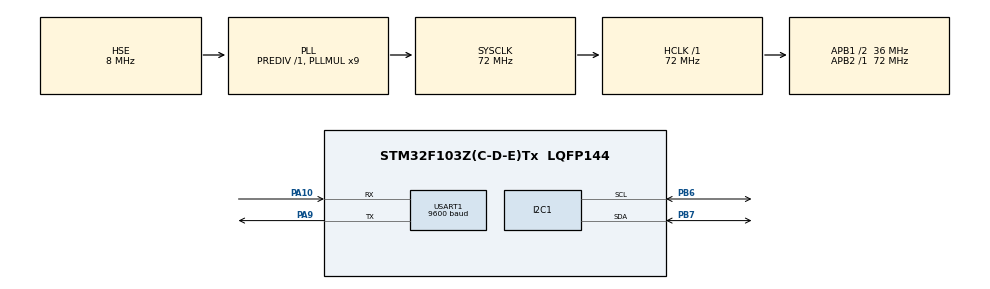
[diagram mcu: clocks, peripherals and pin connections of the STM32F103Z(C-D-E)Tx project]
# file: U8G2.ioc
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Dma.I2C1_TX.0.Direction=DMA_MEMORY_TO_PERIPH
Dma.I2C1_TX.0.Instance=DMA1_Channel6
Dma.I2C1_TX.0.MemDataAlignment=DMA_MDATAALIGN_BYTE
Dma.I2C1_TX.0.MemInc=DMA_MINC_ENABLE
Dma.I2C1_TX.0.Mode=DMA_NORMAL
Dma.I2C1_TX.0.PeriphDataAlignment=DMA_PDATAALIGN_BYTE
Dma.I2C1_TX.0.PeriphInc=DMA_PINC_DISABLE
Dma.I2C1_TX.0.Priority=DMA_PRIORITY_LOW
Dma.Request0=I2C1_TX
I2C1.I2C_Mode=I2C_Fast
Mcu.Family=STM32F1
Mcu.Name=STM32F103Z(C-D-E)Tx
Mcu.Package=LQFP144
NVIC.DMA1_Channel6_IRQn=true\:0\:0\:false\:false\:true\:false\:true\:true
NVIC.I2C1_ER_IRQn=true\:0\:0\:false\:false\:true\:true\:true\:true
NVIC.I2C1_EV_IRQn=true\:0\:0\:false\:false\:true\:true\:true\:true
NVIC.PriorityGroup=NVIC_PRIORITYGROUP_4
OSC_IN.Mode=HSE-External-Oscillator
OSC_IN.Signal=RCC_OSC_IN
OSC_OUT.Mode=HSE-External-Oscillator
OSC_OUT.Signal=RCC_OSC_OUT
PA10.Mode=Asynchronous
PA10.Signal=USART1_RX
PA13.Mode=Serial_Wire
PA13.Signal=SYS_JTMS-SWDIO
PA14.Mode=Serial_Wire
PA14.Signal=SYS_JTCK-SWCLK
PA9.Mode=Asynchronous
PA9.Signal=USART1_TX
PB6.Mode=I2C
PB6.Signal=I2C1_SCL
PB7.Mode=I2C
PB7.Signal=I2C1_SDA
ProjectManager.HeapSize=0x200
ProjectManager.StackSize=0x400
ProjectManager.TargetToolchain=MDK-ARM V5.32
RCC.AHBFreq_Value=72000000
RCC.APB1CLKDivider=RCC_HCLK_DIV2
RCC.APB1Freq_Value=36000000
RCC.APB1TimFreq_Value=72000000
RCC.APB2Freq_Value=72000000
RCC.APB2TimFreq_Value=72000000
RCC.HCLKFreq_Value=72000000
RCC.PLLMUL=RCC_PLL_MUL9
RCC.PLLSourceVirtual=RCC_PLLSOURCE_HSE
RCC.SYSCLKFreq_VALUE=72000000
RCC.SYSCLKSource=RCC_SYSCLKSOURCE_PLLCLK
RCC.USBFreq_Value=72000000
USART1.BaudRate=9600
USART1.VirtualMode=VM_ASYNC
board=custom

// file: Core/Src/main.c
/* USER CODE BEGIN Header */
/**
 ******************************************************************************
 * @file           : main.c
 * @brief          : Main program body
 ******************************************************************************
 * @attention
 *
 * Copyright (c) 2023 STMicroelectronics.
 * All rights reserved.
 *
 * This software is licensed under terms that can be found in the LICENSE file
 * in the root directory of this software component.
 * If no LICENSE file comes with this software, it is provided AS-IS.
 *
 ******************************************************************************
 */
/* USER CODE END Header */
#include "main.h"
#include "dma.h"
#include "i2c.h"
#include "usart.h"
#include "gpio.h"

/* USER CODE BEGIN Includes */
#include "u8g2.h"
#include "u8x8.h"
#include "oled.h"
/* USER CODE END Includes */

void SystemClock_Config(void);

int main(void)
{

    /* MCU Configuration--------------------------------------------------------*/

    /* Reset of all peripherals, Initializes the Flash interface and the Systick. */
    HAL_Init();

    /* Configure the system clock */
    SystemClock_Config();

    /* Initialize all configured peripherals */
    MX_GPIO_Init();
    MX_DMA_Init();
    MX_I2C1_Init();
    MX_USART1_UART_Init();

    /* Infinite loop */
    /* USER CODE BEGIN WHILE */
    u8g2_t u8g2;
    u8g2_Setup_ssd1306_i2c_128x64_noname_f(&u8g2, U8G2_R0, u8x8_byte_hw_i2c, u8g2_gpio_and_delay_stm32);
    u8g2_InitDisplay(&u8g2);     // send init sequence to the display, display is in sleep mode after this,
    u8g2_SetPowerSave(&u8g2, 0); // wake up display
    u8g2_SetFont(&u8g2, u8g2_font_wqy16_t_chinese1);
    while (1) {
        u8g2_ClearDisplay(&u8g2);
        u8g2_DrawCircle(&u8g2, 60, 30, 20, U8G2_DRAW_ALL);
        u8g2_DrawUTF8(&u8g2, 10, 50, "你好,world");
        u8g2_SendBuffer(&u8g2);
        u8g2_ClearDisplay(&u8g2);
        u8g2_DrawRFrame(&u8g2, 10, 10, 100, 40, 10);
        u8g2_SendBuffer(&u8g2);
        /* USER CODE END WHILE */

    }
}

void SystemClock_Config(void)
{
    RCC_OscInitTypeDef RCC_OscInitStruct = {0};
    RCC_ClkInitTypeDef RCC_ClkInitStruct = {0};

    /** Initializes the RCC Oscillators according to the specified parameters
     * in the RCC_OscInitTypeDef structure.
     */
    RCC_OscInitStruct.OscillatorType = RCC_OSCILLATORTYPE_HSE;
    RCC_OscInitStruct.HSEState       = RCC_HSE_ON;
    RCC_OscInitStruct.HSEPredivValue = RCC_HSE_PREDIV_DIV1;
    RCC_OscInitStruct.HSIState       = RCC_HSI_ON;
    RCC_OscInitStruct.PLL.PLLState   = RCC_PLL_ON;
    RCC_OscInitStruct.PLL.PLLSource  = RCC_PLLSOURCE_HSE;
    RCC_OscInitStruct.PLL.PLLMUL     = RCC_PLL_MUL9;
    if (HAL_RCC_OscConfig(&RCC_OscInitStruct) != HAL_OK) {
        Error_Handler();
    }

    /** Initializes the CPU, AHB and APB buses clocks
     */
    RCC_ClkInitStruct.ClockType      = RCC_CLOCKTYPE_HCLK | RCC_CLOCKTYPE_SYSCLK | RCC_CLOCKTYPE_PCLK1 | RCC_CLOCKTYPE_PCLK2;
    RCC_ClkInitStruct.SYSCLKSource   = RCC_SYSCLKSOURCE_PLLCLK;
    RCC_ClkInitStruct.AHBCLKDivider  = RCC_SYSCLK_DIV1;
    RCC_ClkInitStruct.APB1CLKDivider = RCC_HCLK_DIV2;
    RCC_ClkInitStruct.APB2CLKDivider = RCC_HCLK_DIV1;

    if (HAL_RCC_ClockConfig(&RCC_ClkInitStruct, FLASH_LATENCY_2) != HAL_OK) {
        Error_Handler();
    }
}

void Error_Handler(void)
{
    __disable_irq();
    while (1) {
    }
}
